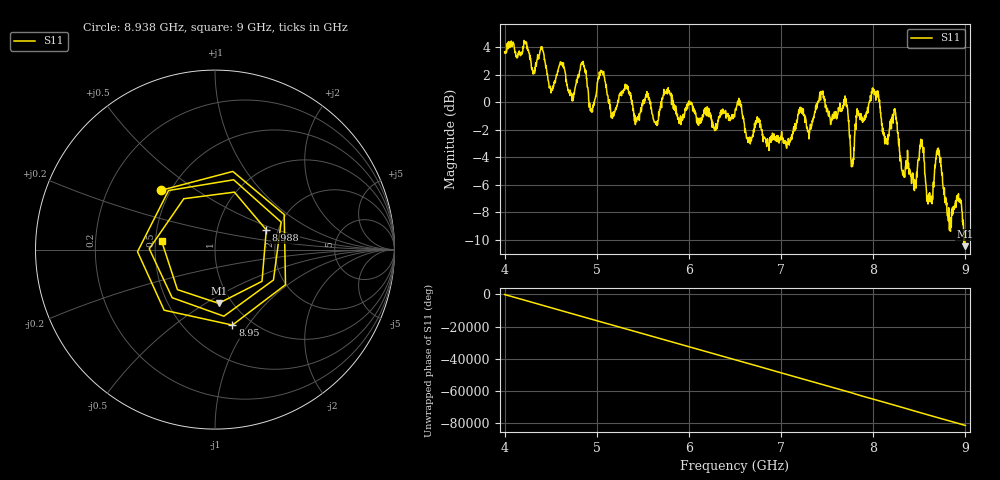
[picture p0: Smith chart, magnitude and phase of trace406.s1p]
! Created with skrf 1.8.0 (http://scikit-rf.org).
# Hz S RI R 50.0
!freq ReS11 ImS11
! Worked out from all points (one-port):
!   1601 points, 4 GHz to 9 GHz, reference 50 ohm
!   lowest |S11| = -10.5 dB at 8.994 GHz (marker M1), VSWR 1.86, Z = 43.4 - j28.6 ohm
!   |S11| at or under -10 dB: 8.986679 GHz to end of sweep
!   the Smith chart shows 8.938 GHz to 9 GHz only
!   S11 on the Smith chart (normalised r, x): 8.938 GHz: 0.45, +0.37; 8.95 GHz: 0.82, -0.85; 8.988 GHz: 1.74, +0.42; 9 GHz: 0.54, +0.06
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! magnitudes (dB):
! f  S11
! 4 GHz  3.7
! 4.403 GHz  4.0
! 4.506 GHz  1.0
! 4.625 GHz  2.7
! 4.734 GHz  0.1
! 4.85 GHz  2.8
! 4.941 GHz  -0.6
! 5.053 GHz  2.2
! 5.169 GHz  -1.2
! 5.25 GHz  0.6
! 5.875 GHz  -0.9
! 6.5 GHz  -0.6
! 7.125 GHz  -2.3
! 7.441 GHz  0.7
! 7.7 GHz  0.1
! 7.75 GHz  -3.0
! 8.012 GHz  0.6
! 8.375 GHz  -3.9
! 8.45 GHz  -5.6
! 8.528 GHz  -2.7
! 8.619 GHz  -7.0
! 8.706 GHz  -3.3
! 8.822 GHz  -8.3
! 8.938 GHz  -7.0
! 8.95 GHz  -7.3
! 8.988 GHz  -10.3
! 8.994 GHz  -10.5
! 9 GHz  -10.4
